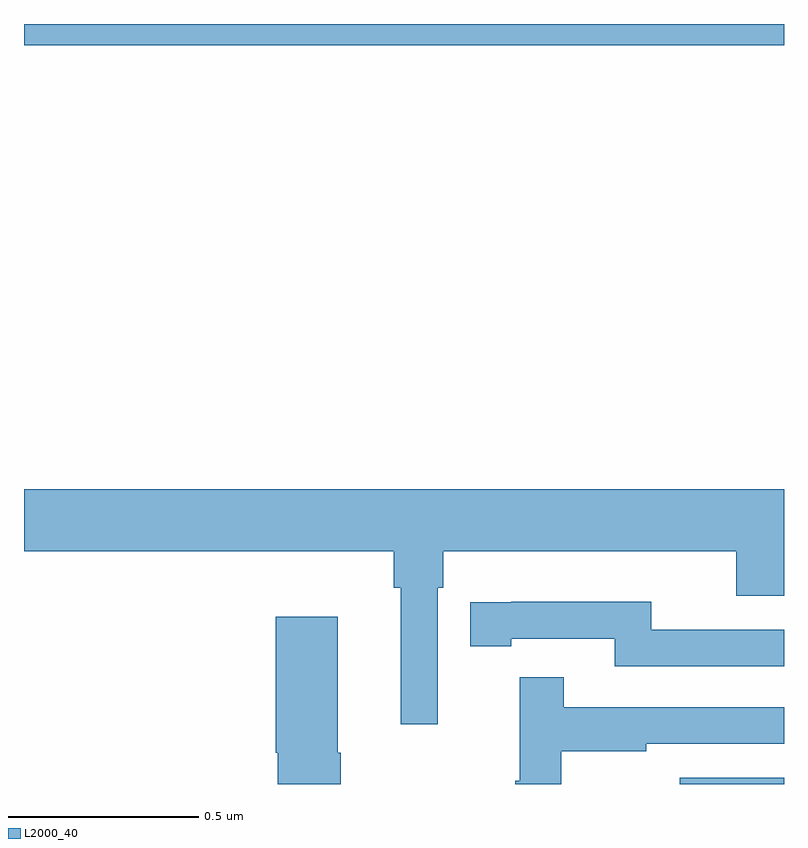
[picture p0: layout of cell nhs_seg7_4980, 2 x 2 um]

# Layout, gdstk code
import gdstk
lib = gdstk.Library(unit=1e-6, precision=1e-09)
def R(c, l, rs):  # rectangles x0, y0, x1, y1
    for r in rs: c.add(gdstk.rectangle(r[:2], r[2:], *l))
def P(c, l, *ps):  # polygons
    for p in ps: c.add(gdstk.Polygon(p, *l))
L2000_40 = (2000, 40)

nhs_seg7_4980 = lib.new_cell('nhs_seg7_4980')
R(nhs_seg7_4980, L2000_40, [(181.725,1004,182,1004.017), (180,1005.944,182,1006)])
P(nhs_seg7_4980, L2000_40, [(181.089,1004.516),(181.103,1004.516),(181.103,1004.612),(181.874,1004.612),(181.874,1004.495),(182,1004.495),(182,1004.776),(180,1004.776),(180,1004.612),(180.973,1004.612),(180.973,1004.516),(180.992,1004.516),(180.992,1004.157),(181.089,1004.157)],
  [(182,1004.406),(181.65,1004.406),(181.65,1004.479),(181.282,1004.479),(181.282,1004.478),(181.174,1004.478),(181.174,1004.362),(181.282,1004.362),(181.282,1004.382),(181.554,1004.382),(181.554,1004.31),(182,1004.31)],
  [(180.834,1004.082),(180.826,1004.082),(180.826,1004.44),(180.662,1004.44),(180.662,1004.082),(180.668,1004.082),(180.668,1004),(180.834,1004)],
  [(181.414,1004.086),(181.637,1004.086),(181.637,1004.106),(182,1004.106),(182,1004.202),(181.421,1004.202),(181.421,1004.281),(181.304,1004.281),(181.304,1004.009),(181.293,1004.009),(181.293,1004),(181.414,1004)])

lib.write_gds('nhs_seg7_4980.gds')
